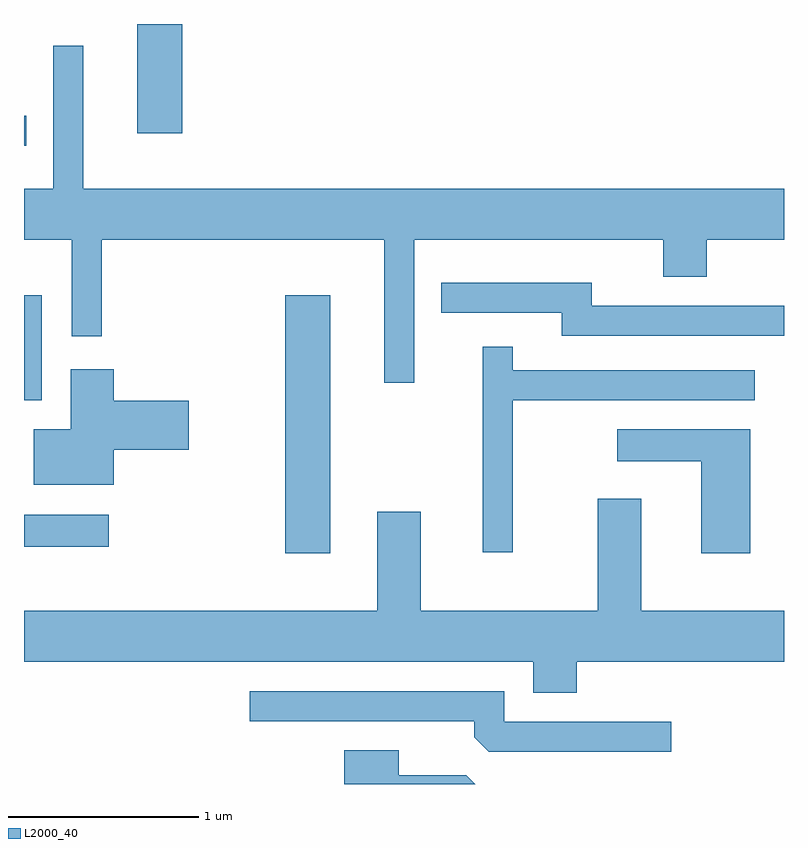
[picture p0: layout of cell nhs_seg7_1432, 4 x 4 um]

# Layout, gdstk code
import gdstk
lib = gdstk.Library(unit=1e-6, precision=1e-09)
def R(c, l, rs):  # rectangles x0, y0, x1, y1
    for r in rs: c.add(gdstk.rectangle(r[:2], r[2:], *l))
def P(c, l, *ps):  # polygons
    for p in ps: c.add(gdstk.Polygon(p, *l))
L2000_40 = (2000, 40)

nhs_seg7_1432 = lib.new_cell('nhs_seg7_1432')
R(nhs_seg7_1432, L2000_40, [(228.986,1801.466,229.224,1802.824), (227.611,1801.501,228.058,1801.669), (227.611,1802.271,227.704,1802.824), (227.611,1803.611,227.623,1803.769), (228.206,1803.676,228.444,1804.252)])
P(nhs_seg7_1432, L2000_40, [(229.664,1803.116),(230.976,1803.116),(230.976,1802.921),(231.204,1802.921),(231.204,1803.116),(231.611,1803.116),(231.611,1803.384),(227.924,1803.384),(227.924,1804.138),(227.766,1804.138),(227.766,1803.384),(227.611,1803.384),(227.611,1803.116),(227.861,1803.116),(227.861,1802.608),(228.019,1802.608),(228.019,1803.116),(229.506,1803.116),(229.506,1802.363),(229.664,1802.363)],
  [(231.611,1802.769),(230.599,1802.769),(230.599,1802.889),(229.808,1802.889),(229.808,1802.731),(230.441,1802.731),(230.441,1802.611),(231.611,1802.611)],
  [(230.184,1802.271),(231.458,1802.271),(231.458,1802.429),(230.184,1802.429),(230.184,1802.553),(230.026,1802.553),(230.026,1801.473),(230.184,1801.473)],
  [(228.084,1802.011),(228.479,1802.011),(228.479,1802.269),(228.084,1802.269),(228.084,1802.434),(227.856,1802.434),(227.856,1802.119),(227.661,1802.119),(227.661,1801.826),(228.084,1801.826)],
  [(231.434,1802.119),(230.733,1802.119),(230.733,1801.951),(231.176,1801.951),(231.176,1801.466),(231.434,1801.466)],
  [(230.519,1800.896),(231.611,1800.896),(231.611,1801.164),(230.859,1801.164),(230.859,1801.754),(230.631,1801.754),(230.631,1801.164),(229.699,1801.164),(229.699,1801.684),(229.471,1801.684),(229.471,1801.164),(227.611,1801.164),(227.611,1800.896),(230.291,1800.896),(230.291,1800.731),(230.519,1800.731)],
  [(231.018,1800.579),(230.139,1800.579),(230.139,1800.739),(228.798,1800.739),(228.798,1800.581),(229.981,1800.581),(229.981,1800.497),(230.057,1800.421),(231.018,1800.421)],
  [(229.939,1800.299),(229.584,1800.299),(229.584,1800.429),(229.296,1800.429),(229.296,1800.252),(229.986,1800.252)])

lib.write_gds('nhs_seg7_1432.gds')
